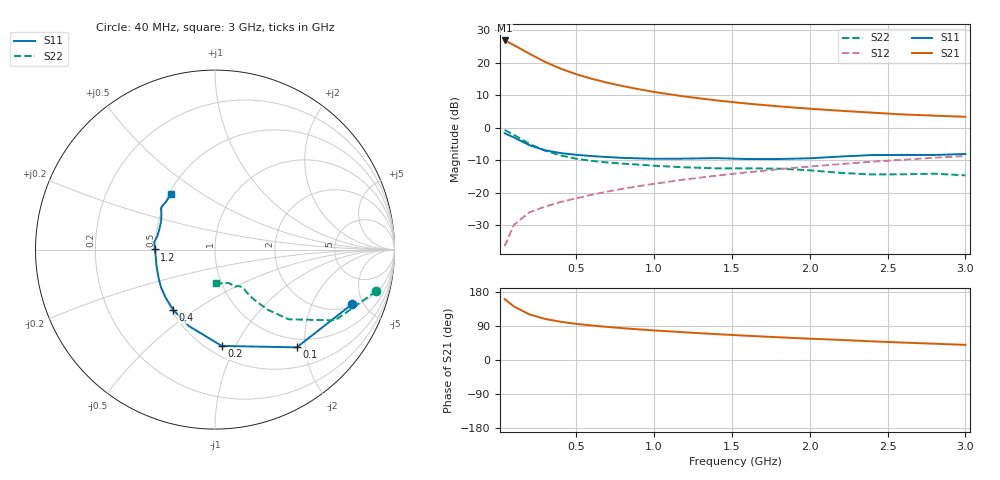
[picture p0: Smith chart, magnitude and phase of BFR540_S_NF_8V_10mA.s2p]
! Filename:  BFR540H.S2P  Version:  3.0
! Philips part #: BFR540  Date: Feb 1992
! Bias condition: Vce=8V, Ic=10mA
#  MHz  S  MA  R  50
! Freq  S11  S21  S12  S22  !GUM [dB]
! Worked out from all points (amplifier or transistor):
!   21 points, 40 MHz to 3 GHz, reference 50 ohm
!   highest |S21| = 26.9 dB at 40 MHz (marker M1)
!   |S21| within 3 dB of that: start of sweep to 158.5 MHz
!   unconditionally stable (mu >= 1): 969 MHz to 2.728 GHz
!   at 300 MHz: K = 0.66, MSG = 22.3 dB, |S12| = -24.3 dB
!   at 1 GHz: K = 1.01, MAG = 13.6 dB, |S12| = -17.3 dB
!   at 3 GHz: K = 0.98, MSG = 6.0 dB, |S12| = -8.7 dB
!   lowest NFmin = 1.30 dB at 900 MHz
!   S11 on the Smith chart (normalised r, x): 40 MHz: 2.20, -4.12; 100 MHz: 0.84, -1.84; 200 MHz: 0.59, -0.88; 400 MHz: 0.51, -0.41; 1.2 GHz: 0.50, +0.00; 3 GHz: 0.51, +0.38
40  0.823 -21.6  22.15 160.7  0.015 78.6  0.927 -14.5
100  0.71 -50.1  18.77 141.3  0.032 65.9  0.777 -30.5
200  0.538 -86.0  13.81 120.2  0.05 58.4  0.564 -43.5
300  0.45 -108.9  10.34 108.4  0.061 57.7  0.444 -48.8
400  0.408 -124.8  8.15 100.9  0.072 58.6  0.375 -51.3
500  0.383 -136.2  6.69 95.3  0.082 60.3  0.334 -52.6
600  0.367 -144.9  5.691 91.1  0.093 61.6  0.309 -53.2
700  0.354 -152.0  4.945 87.3  0.104 62.8  0.292 -53.5
800  0.344 -158.4  4.387 84.0  0.115 63.8  0.28 -53.5
900  0.338 -164.7  3.936 80.8  0.126 64.6  0.271 -53.7
1000  0.333 -170.4  3.565 78.1  0.137 65.0  0.26 -54.1
1200  0.335 179.8  3.024 73.0  0.16 65.5  0.246 -56.1
1400  0.341 172.9  2.644 68.3  0.183 65.6  0.237 -59.1
1600  0.33 167.2  2.358 63.9  0.206 65.6  0.237 -60.3
1800  0.33 160.5  2.139 60.0  0.23 65.2  0.235 -62.2
2000  0.339 152.2  1.967 56.2  0.253 64.3  0.221 -63.7
2200  0.361 145.8  1.827 53.0  0.276 63.6  0.202 -67.5
2400  0.38 142.5  1.711 49.2  0.3 62.4  0.191 -75.3
2600  0.381 140.3  1.605 46.0  0.322 61.2  0.192 -82.8
2800  0.381 135.7  1.538 43.0  0.345 60.1  0.196 -86.4
3000  0.395 128.5  1.476 39.9  0.368 58.7  0.185 -88.6
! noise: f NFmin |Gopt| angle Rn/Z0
900  1.3  0.311  112  0.13
2000  2.1  0.4  -155  0.14
